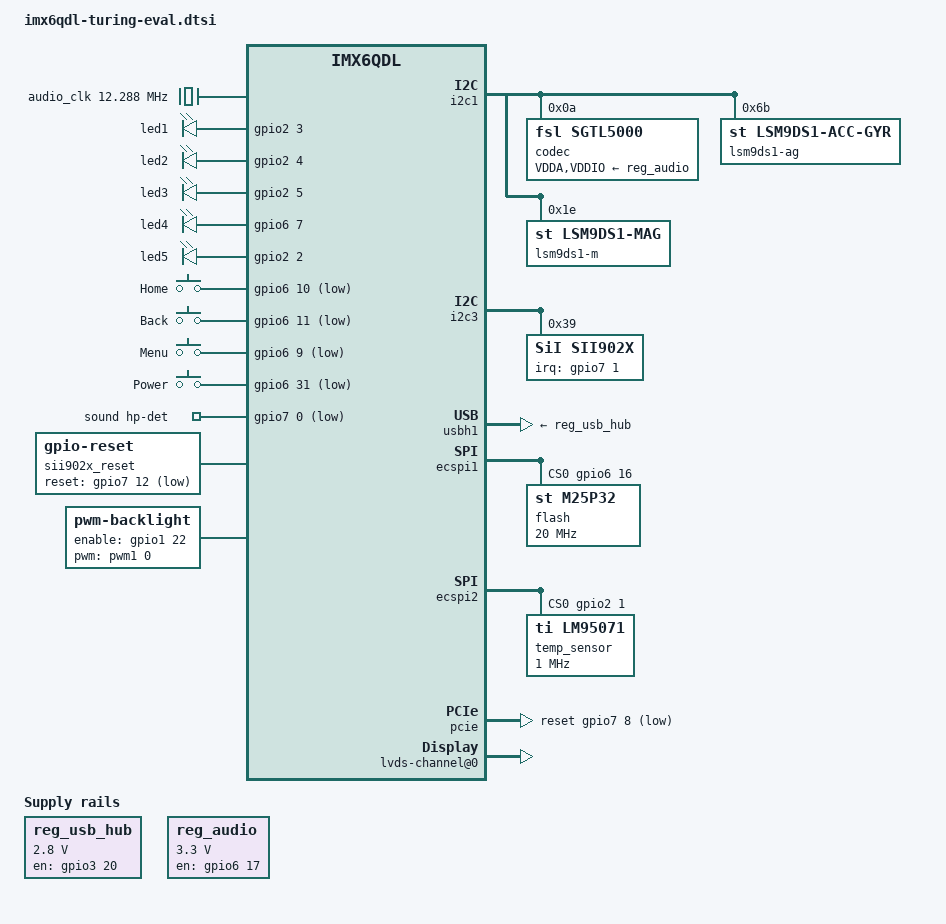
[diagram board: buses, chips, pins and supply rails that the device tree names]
/*
 * Copyright (C) 2016 Turing Computer.
 */

#include "imx6qdl-turing.dtsi"
#include <dt-bindings/input/input.h>

/ {
	aliases {
		mxcfb0 = &mxcfb1;
		mxcfb1 = &mxcfb2;
	};
	
	clocks {
		#address-cells = <1>;
		#size-cells = <0>;
		audio_clk: clock@0 {
			compatible = "fixed-clock";
			reg = <0>;
			#clock-cells = <0>;
			clock-frequency = <12288000>;
		};
	};
	
	leds {
		compatible = "gpio-leds";
		status = "okay";
		
		led1 {
			gpios = <&gpio2 3 GPIO_ACTIVE_HIGH>;
			default-state = "on";
			linux,default-trigger = "none";
		};
		
		led2 {
			gpios = <&gpio2 4 GPIO_ACTIVE_HIGH>;
			default-state = "on";
			linux,default-trigger = "none";
		};
		
		led3 {
			gpios = <&gpio2 5 GPIO_ACTIVE_HIGH>;
			default-state = "on";
			linux,default-trigger = "none";
		};
		
		led4 {
			gpios = <&gpio6 7 GPIO_ACTIVE_HIGH>;
			default-state = "on";
			linux,default-trigger = "none";
		};
		
		led5 {
			gpios = <&gpio2 2 GPIO_ACTIVE_HIGH>;
			default-state = "on";
			linux,default-trigger = "none";
		};
	};
	
	gpio-keys {
		compatible = "gpio-keys";
		label = "gpio-keys";

		home {
			label = "Home";
			gpios = <&gpio6 10 GPIO_ACTIVE_LOW>;
			gpio-key,wakeup;
			linux,code = <KEY_HOMEPAGE>;
		};

		back {
			label = "Back";
			gpios = <&gpio6 11 GPIO_ACTIVE_LOW>;
			gpio-key;
			linux,code = <KEY_BACK>;
		};

		menu {
			label = "Menu";
			gpios = <&gpio6 9 GPIO_ACTIVE_LOW>;
			gpio-key;
			linux,code = <KEY_MENU>;
		};
		
		power {
			label = "Power";
			gpios = <&gpio6 31 GPIO_ACTIVE_LOW>;
			gpio-key,wakeup;
			linux,code = <KEY_POWER>;
		};
	};
	
	sound {
		compatible = "fsl,imx-audio-sgtl5000";
		model = "imx-sgtl5000";
		ssi-controller = <&ssi2>;
		cpu-dai = <&ssi2>;
		audio-codec = <&codec>;
		audio-routing =
			"MIC_IN", "Mic Jack",
			"Mic Jack", "Mic Bias",
			"Headphone Jack", "HP_OUT";
		mux-int-port = <2>;
		mux-ext-port = <3>;
		hp-det-gpios = <&gpio7 0 GPIO_ACTIVE_LOW>;
	};

	sii902x_reset: sii902x-reset {
		compatible = "gpio-reset";
		reset-gpios = <&gpio7 12 GPIO_ACTIVE_LOW>;
		reset-delay-us = <100000>;
		#reset-cells = <0>;
		status = "okay";
		initially-in-reset;
	};
	
	backlight {
		compatible = "pwm-backlight";
		pwms = <&pwm1 0 1000000>;
		brightness-levels = <0 4 8 16 32 64 128 255>;
		default-brightness-level = <7>;
		enable-gpios = <&gpio1 22 GPIO_ACTIVE_HIGH>;
		status = "okay";
	};
	
	regulators {
		compatible = "simple-bus";
		#address-cells = <1>;
		#size-cells = <0>;

		reg_usb_hub: regulator@1 {
			compatible = "regulator-fixed";
			regulator-min-microvolt = <2800000>;
			regulator-max-microvolt = <2800000>;
			reg = <1>;
			regulator-name = "usb_hub_rst";
			gpio = <&gpio3 20 GPIO_ACTIVE_HIGH>;
			enable-active-high;
			regulator-off-in-suspend;
		};

		reg_audio: regulator@2 {
			compatible = "regulator-fixed";
			regulator-min-microvolt = <3300000>;
			regulator-max-microvolt = <3300000>;
			reg = <2>;
			regulator-name = "osc-ckih1-enable";
			gpio = <&gpio6 17 GPIO_ACTIVE_HIGH>;
			enable-active-high;
			regulator-boot-on;
			regulator-off-in-suspend;
		};
	};
};

&i2c1 {
	codec: sgtl5000@0a {
		compatible = "fsl,sgtl5000";
		reg = <0x0a>;
		clocks = <&audio_clk>;
		VDDA-supply = <&reg_audio>;
		VDDIO-supply = <&reg_audio>;
		status = "okay";
	};
	
	lsm9ds1-ag@0x6B {
        compatible = "st,lsm9ds1-acc-gyr";
        reg = <0x6B>;
        status = "okay";
        rot-matrix = /bits/ 16 <(1) (0) (0)
                                (0) (1) (0)
                                (0) (0) (1)>;
        g-poll-interval = <100>;
        g-min-interval = <2>;
        g-fs-range = <0>;
        x-poll-interval = <100>;
        x-min-interval = <1>;
        x-fs-range = <0>;
        aa-filter-bw = <0>;
        /*gpios = <&gpio2 5 GPIO_ACTIVE_HIGH>, <&gpio6 7 GPIO_ACTIVE_HIGH>;*/
    };

    lsm9ds1-m@0x1E {
        compatible = "st,lsm9ds1-mag";
        reg = <0x1E>;
        status = "okay";
        rot-matrix = /bits/ 16 <(1) (0) (0)
                                (0) (1) (0)
                                (0) (0) (1)>;
        poll-interval = <100>;
        min-interval = <13>;
        fs-range = <0>;
        /*gpios = <&gpio2 4 GPIO_ACTIVE_HIGH>;*/
    };
	
};

&i2c3 {
	sii902x@39 {
		compatible = "SiI,sii902x";
		interrupt-parent = <&gpio7>;
		interrupts = <1 2>;
		mode_str ="1280x720M@60";
		bits-per-pixel = <16>;
		resets = <&sii902x_reset>;
		reg = <0x39>;
	};
};

&usbh1 {
	vbus-supply = <&reg_usb_hub>;
};

&ecspi1 {
	fsl,spi-num-chipselects = <1>;
	cs-gpios = <&gpio6 16 GPIO_ACTIVE_HIGH>;

	flash: m25p80@0 {
		#address-cells = <1>;
		#size-cells = <1>;
		compatible = "st,m25p32";
		spi-max-frequency = <20000000>;
		reg = <0>;
	};
};

&ecspi2 {
	fsl,spi-num-chipselects = <1>;
	cs-gpios = <&gpio2 1 GPIO_ACTIVE_HIGH>;
	
	temp_sensor: lm95071@0 {
		#address-cells = <1>;
		#size-cells = <1>;
		compatible = "ti,lm95071";
		spi-max-frequency = <1000000>;
		reg = <0>;
	};	
};

&pcie {
	power-on-gpio = <&gpio1 23 GPIO_ACTIVE_HIGH>;
	reset-gpio = <&gpio7 8 GPIO_ACTIVE_LOW>;
	wakeup-gpio = <&gpio5 2 GPIO_ACTIVE_HIGH>;
};


&ldb {
	lvds-channel@0 {
		fsl,data-mapping = "spwg";
		fsl,data-width = <18>;
		status = "okay";
		primary;

		display-timings {
			native-mode = <&timing0>;
			timing0: atm0700l6bt {
				clock-frequency = <30000000>;
				hactive = <800>;
				vactive = <480>;
				hback-porch = <46>;
				hfront-porch = <210>;
				vback-porch = <23>;
				vfront-porch = <22>;
				hsync-len = <10>;
				vsync-len = <10>;
			};
		};
	};
};

&usdhc3 {
	max-frequency = <50000000>;
};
